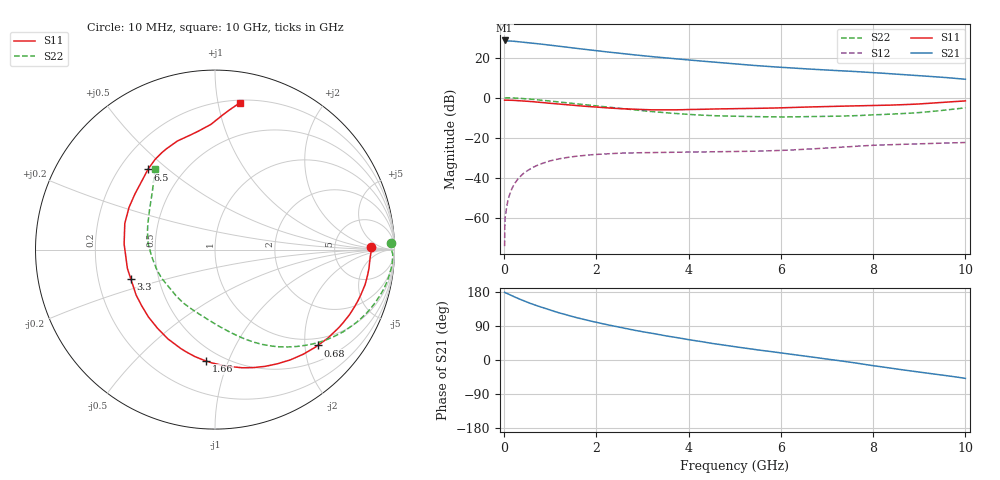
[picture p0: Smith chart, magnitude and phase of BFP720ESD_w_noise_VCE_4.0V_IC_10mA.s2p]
! Infineon Technologies  Discrete & RF Semiconductors
! BFP720ESD
! VCE =  4.0 V,  IC =  10 mA
! Common Emitter S-Parameters:  Jan 2016
# GHz  S  MA  R  50
!  f  S11  S21  S12  S22
! GHz  MAG  ANG  MAG  ANG  MAG  ANG  MAG  ANG
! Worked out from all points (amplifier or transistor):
!   233 points, 10 MHz to 10 GHz, reference 50 ohm
!   highest |S21| = 28.5 dB at 10 MHz (marker M1)
!   |S21| within 3 dB of that: start of sweep to 1.237 GHz
!   unconditionally stable (mu >= 1): start of sweep to 11.33 MHz; 5.128 GHz to 7.812 GHz
!   at 200 MHz: K = 0.14, MSG = 36.0 dB, |S12| = -43.9 dB
!   at 1.74 GHz: K = 0.40, MSG = 26.4 dB, |S12| = -28.8 dB
!   at 10 GHz: K = 0.69, MSG = 15.8 dB, |S12| = -22.3 dB
!   lowest NFmin = 0.67 dB at 450 MHz
!   S11 on the Smith chart (normalised r, x): 10 MHz: 14, +2; 680 MHz: 0.83, -2.28; 1.66 GHz: 0.41, -0.84; 3.3 GHz: 0.34, -0.15; 6.5 GHz: 0.32, +0.43; 10 GHz: 0.22, +1.16
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0.01  0.8697 0.9  26.64 178.6  0.0002 65.5  0.9797 2.3
0.02  0.8695 -1.0  26.09 177.7  0.001 64.0  0.9852 -0.3
0.08  0.8644 -5.2  25.89 174.8  0.0027 75.9  0.9904 -3.0
0.2  0.8587 -13.2  25.52 168.0  0.0064 78.5  0.9819 -8.2
0.38  0.8345 -24.8  24.44 158.4  0.0118 73.2  0.9556 -15.2
0.68  0.783 -43.0  22.46 144.6  0.0198 63.8  0.8965 -25.7
0.9  0.7443 -55.6  21 135.4  0.0247 57.5  0.8481 -32.7
1.14  0.7012 -68.6  19.45 126.3  0.0291 51.1  0.7923 -39.7
1.4  0.6586 -82.1  17.86 117.2  0.0328 45.0  0.7347 -46.5
1.66  0.6228 -94.4  16.44 109.1  0.0357 39.9  0.683 -52.5
1.68  0.6203 -95.3  16.34 108.5  0.0359 39.6  0.6793 -53.0
2  0.5832 -109.1  14.77 99.4  0.0386 34.4  0.6229 -59.6
2.44  0.539 -127.8  13 87.8  0.0411 28.4  0.5502 -68.3
2.84  0.5125 -144.0  11.62 78.2  0.0423 24.3  0.4919 -76.0
3.3  0.4966 -160.7  10.29 68.5  0.0431 21.0  0.4405 -84.3
3.4  0.497 -164.3  10.04 66.2  0.0432 20.3  0.4308 -86.3
4  0.5073 176.5  8.726 53.7  0.0442 17.7  0.3835 -98.4
5.1  0.5346 152.1  6.79 33.4  0.0458 15.4  0.3433 -122.5
6.5  0.5824 129.9  5.263 10.5  0.0514 16.2  0.3376 -151.7
6.8  0.5943 126.0  5.019 5.8  0.0537 16.0  0.3398 -157.5
8.4  0.654 101.7  3.925 -21.9  0.0677 7.6  0.3896 164.9
10  0.8311 80.3  2.878 -48.5  0.0765 -2.7  0.5599 126.5
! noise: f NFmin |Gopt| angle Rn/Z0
0.45  0.67  0.27  4  0.12
0.9  0.71  0.26  10  0.13
1.9  0.73  0.22  23  0.12
2.4  0.74  0.2  27  0.13
5.5  0.92  0.03  -166  0.1
10  1.37  0.51  -92  0.38
